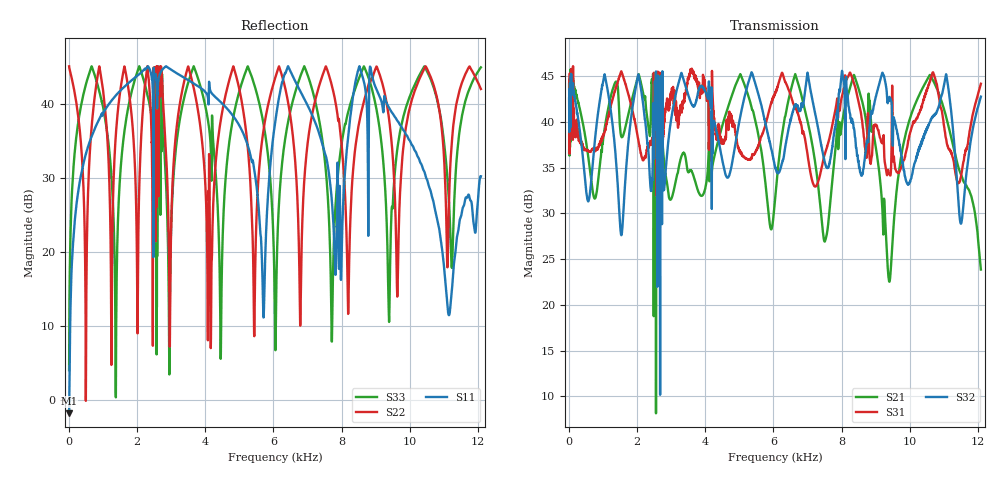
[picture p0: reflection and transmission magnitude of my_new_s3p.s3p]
! Channel 1
! Ports=123
! Points=2329
! Topology=ALL_SE(123)
# Hz S RI R 50
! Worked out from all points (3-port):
!   2329 points, 10 Hz to 12.08 kHz, reference 50 ohm
!   strongest paths, dB at 10 Hz, 2.504 kHz, 4.222 kHz, 7.132 kHz, 12.08 kHz:
!     S32: 42.5, 36.7, 39.6, 42.5, 42.7
!     S31: 44.1, 42.4, 42.0, 33.6, 44.2
!     S21: 36.6, 43.7, 35.4, 37.6, 23.9
!   lowest |S11| = -1.8 dB at 10 Hz (marker M1), VSWR 9.81, Z = 9.11 - j43.9 ohm
!   |S11| at or under -10 dB: nowhere
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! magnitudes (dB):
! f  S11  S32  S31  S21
! 10 Hz  -1.8  42.5  44.1  36.6
! 670 Hz  35.6  34.1  36.9  33.2
! 1.38 kHz  41.2  36.0  43.7  44.4
! 2.035 kHz  43.9  45.1  38.1  45.1
! 4.837 kHz  38.2  36.6  39.5  43.5
! 5.437 kHz  31.1  44.5  36.5  40.6
! 6.047 kHz  37.5  35.1  43.1  31.6
! 6.787 kHz  41.7  41.2  40.0  43.3
! 7.712 kHz  26.9  36.9  39.4  33.1
! 12.08 kHz  30.2  42.7  44.2  23.9
